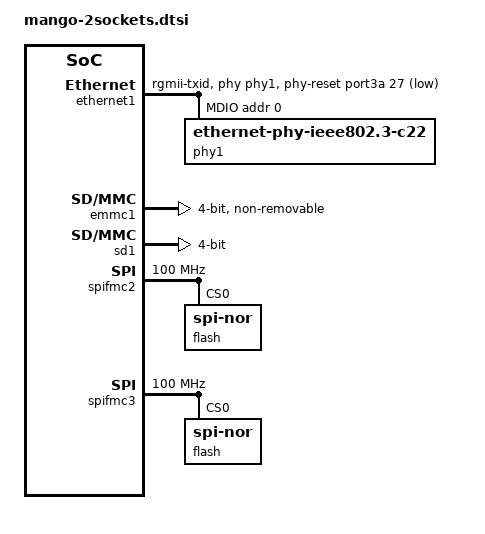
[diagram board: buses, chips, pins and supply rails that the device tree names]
#define NR_CPUS 128

#include "mango.dtsi"
#if NR_CPUS > 64
#include "mango-cpus-socket1.dtsi"
#endif
#include "mango-clock-socket1.dtsi"

/ {
	/delete-node/ distance-map;
	distance-map {
		compatible = "numa-distance-map-v1";
		distance-matrix = <0 0 10>,	//chip0
				  <0 1 15>,
				  <0 2 25>,
				  <0 3 30>,
				  <0 4 110>,
				  <0 5 115>,
				  <0 6 125>,
				  <0 7 130>,
				  <1 0 15>,
				  <1 1 10>,
				  <1 2 30>,
				  <1 3 25>,
				  <1 4 115>,
				  <1 5 110>,
				  <1 6 130>,
				  <1 7 125>,
				  <2 0 25>,
				  <2 1 30>,
				  <2 2 10>,
				  <2 3 15>,
				  <2 4 125>,
				  <2 5 130>,
				  <2 6 110>,
				  <2 7 115>,
				  <3 0 30>,
				  <3 1 25>,
				  <3 2 15>,
				  <3 3 10>,
				  <3 4 130>,
				  <3 5 125>,
				  <3 6 115>,
				  <3 7 110>,
				  <4 0 110>,	//chip1
				  <4 1 115>,
				  <4 2 125>,
				  <4 3 130>,
				  <4 4 10>,
				  <4 5 15>,
				  <4 6 25>,
				  <4 7 30>,
				  <5 0 115>,
				  <5 1 110>,
				  <5 2 130>,
				  <5 3 125>,
				  <5 4 15>,
				  <5 5 10>,
				  <5 6 30>,
				  <5 7 25>,
				  <6 0 125>,
				  <6 1 130>,
				  <6 2 110>,
				  <6 3 115>,
				  <6 4 25>,
				  <6 5 30>,
				  <6 6 10>,
				  <6 7 15>,
				  <7 0 130>,
				  <7 1 125>,
				  <7 2 115>,
				  <7 3 110>,
				  <7 4 30>,
				  <7 5 25>,
				  <7 6 15>,
				  <7 7 10>;
	};

	/* the mem node will be updated by ZSBL. */
	/* chip 1 */
	memory@4 {
		device_type = "memory";
		reg = <0x00000000 0x00000004 0x00000000 0x00000000>;
		numa-node-id = <4>;
	};
	memory@5 {
		device_type = "memory";
		reg = <0x00000000 0x00000005 0x00000000 0x00000000>;
		numa-node-id = <5>;
	};
	memory@6 {
		device_type = "memory";
		reg = <0x00000000 0x00000006 0x00000000 0x00000000>;
		numa-node-id = <6>;
	};
	memory@7 {
		device_type = "memory";
		reg = <0x00000000 0x00000007 0x00000000 0x00000000>;
		numa-node-id = <7>;
	};

	reserved-memory {
		linux,cma {
			size = <0x00000000 0x40000000>;
			alloc-ranges = <0x00000000 0xc0000000
					0x00000000 0x40000000>;
		};
	};

	soc {
#if NR_CPUS > 64
		/delete-node/ clint-mswi@7094000000;
		clint_mswi: clint-mswi@7094000000 {
			compatible = "thead,c900-clint-mswi";
			reg = <0x00000070 0x94000000 0x00000000 0x00004000>;
			interrupts-extended = <
				&cpu0_intc 3
				&cpu1_intc 3
				&cpu2_intc 3
				&cpu3_intc 3
				&cpu4_intc 3
				&cpu5_intc 3
				&cpu6_intc 3
				&cpu7_intc 3
				&cpu8_intc 3
				&cpu9_intc 3
				&cpu10_intc 3
				&cpu11_intc 3
				&cpu12_intc 3
				&cpu13_intc 3
				&cpu14_intc 3
				&cpu15_intc 3
				&cpu16_intc 3
				&cpu17_intc 3
				&cpu18_intc 3
				&cpu19_intc 3
				&cpu20_intc 3
				&cpu21_intc 3
				&cpu22_intc 3
				&cpu23_intc 3
				&cpu24_intc 3
				&cpu25_intc 3
				&cpu26_intc 3
				&cpu27_intc 3
				&cpu28_intc 3
				&cpu29_intc 3
				&cpu30_intc 3
				&cpu31_intc 3
				&cpu32_intc 3
				&cpu33_intc 3
				&cpu34_intc 3
				&cpu35_intc 3
				&cpu36_intc 3
				&cpu37_intc 3
				&cpu38_intc 3
				&cpu39_intc 3
				&cpu40_intc 3
				&cpu41_intc 3
				&cpu42_intc 3
				&cpu43_intc 3
				&cpu44_intc 3
				&cpu45_intc 3
				&cpu46_intc 3
				&cpu47_intc 3
				&cpu48_intc 3
				&cpu49_intc 3
				&cpu50_intc 3
				&cpu51_intc 3
				&cpu52_intc 3
				&cpu53_intc 3
				&cpu54_intc 3
				&cpu55_intc 3
				&cpu56_intc 3
				&cpu57_intc 3
				&cpu58_intc 3
				&cpu59_intc 3
				&cpu60_intc 3
				&cpu61_intc 3
				&cpu62_intc 3
				&cpu63_intc 3

				// chip 1
				&cpu64_intc 3
				&cpu65_intc 3
				&cpu66_intc 3
				&cpu67_intc 3
				&cpu68_intc 3
				&cpu69_intc 3
				&cpu70_intc 3
				&cpu71_intc 3
				&cpu72_intc 3
				&cpu73_intc 3
				&cpu74_intc 3
				&cpu75_intc 3
				&cpu76_intc 3
				&cpu77_intc 3
				&cpu78_intc 3
				&cpu79_intc 3
				&cpu80_intc 3
				&cpu81_intc 3
				&cpu82_intc 3
				&cpu83_intc 3
				&cpu84_intc 3
				&cpu85_intc 3
				&cpu86_intc 3
				&cpu87_intc 3
				&cpu88_intc 3
				&cpu89_intc 3
				&cpu90_intc 3
				&cpu91_intc 3
				&cpu92_intc 3
				&cpu93_intc 3
				&cpu94_intc 3
				&cpu95_intc 3
				&cpu96_intc 3
				&cpu97_intc 3
				&cpu98_intc 3
				&cpu99_intc 3
				&cpu100_intc 3
				&cpu101_intc 3
				&cpu102_intc 3
				&cpu103_intc 3
				&cpu104_intc 3
				&cpu105_intc 3
				&cpu106_intc 3
				&cpu107_intc 3
				&cpu108_intc 3
				&cpu109_intc 3
				&cpu110_intc 3
				&cpu111_intc 3
				&cpu112_intc 3
				&cpu113_intc 3
				&cpu114_intc 3
				&cpu115_intc 3
				&cpu116_intc 3
				&cpu117_intc 3
				&cpu118_intc 3
				&cpu119_intc 3
				&cpu120_intc 3
				&cpu121_intc 3
				&cpu122_intc 3
				&cpu123_intc 3
				&cpu124_intc 3
				&cpu125_intc 3
				&cpu126_intc 3
				&cpu127_intc 3
				>;
		};

		clint_mtimer16: clint-mtimer@70ac100000 {
			compatible = "thead,c900-clint-mtimer";
			reg = <0x00000070 0xac100000 0x00000000 0x00007ff8>;
			interrupts-extended = <
				&cpu64_intc 7
				&cpu65_intc 7
				&cpu66_intc 7
				&cpu67_intc 7
				>;
		};

		clint_mtimer17: clint-mtimer@70ac110000 {
			compatible = "thead,c900-clint-mtimer";
			reg = <0x00000070 0xac110000 0x00000000 0x00007ff8>;
			interrupts-extended = <
				&cpu68_intc 7
				&cpu69_intc 7
				&cpu70_intc 7
				&cpu71_intc 7
				>;
		};

		clint_mtimer18: clint-mtimer@70ac120000 {
			compatible = "thead,c900-clint-mtimer";
			reg = <0x00000070 0xac120000 0x00000000 0x00007ff8>;
			interrupts-extended = <
				&cpu72_intc 7
				&cpu73_intc 7
				&cpu74_intc 7
				&cpu75_intc 7
				>;
		};

		clint_mtimer19: clint-mtimer@70ac130000 {
			compatible = "thead,c900-clint-mtimer";
			reg = <0x00000070 0xac130000 0x00000000 0x00007ff8>;
			interrupts-extended = <
				&cpu76_intc 7
				&cpu77_intc 7
				&cpu78_intc 7
				&cpu79_intc 7
				>;
		};

		clint_mtimer20: clint-mtimer@70ac140000 {
			compatible = "thead,c900-clint-mtimer";
			reg = <0x00000070 0xac140000 0x00000000 0x00007ff8>;
			interrupts-extended = <
				&cpu80_intc 7
				&cpu81_intc 7
				&cpu82_intc 7
				&cpu83_intc 7
				>;
		};

		clint_mtimer21: clint-mtimer@70ac150000 {
			compatible = "thead,c900-clint-mtimer";
			reg = <0x00000070 0xac150000 0x00000000 0x00007ff8>;
			interrupts-extended = <
				&cpu84_intc 7
				&cpu85_intc 7
				&cpu86_intc 7
				&cpu87_intc 7
				>;
		};

		clint_mtimer22: clint-mtimer@70ac160000 {
			compatible = "thead,c900-clint-mtimer";
			reg = <0x00000070 0xac160000 0x00000000 0x00007ff8>;
			interrupts-extended = <
				&cpu88_intc 7
				&cpu89_intc 7
				&cpu90_intc 7
				&cpu91_intc 7
				>;
		};

		clint_mtimer23: clint-mtimer@70ac170000 {
			compatible = "thead,c900-clint-mtimer";
			reg = <0x00000070 0xac170000 0x00000000 0x00007ff8>;
			interrupts-extended = <
				&cpu92_intc 7
				&cpu93_intc 7
				&cpu94_intc 7
				&cpu95_intc 7
				>;
		};

		clint_mtimer24: clint-mtimer@70ac180000 {
			compatible = "thead,c900-clint-mtimer";
			reg = <0x00000070 0xac180000 0x00000000 0x00007ff8>;
			interrupts-extended = <
				&cpu96_intc 7
				&cpu97_intc 7
				&cpu98_intc 7
				&cpu99_intc 7
				>;
		};

		clint_mtimer25: clint-mtimer@70ac190000 {
			compatible = "thead,c900-clint-mtimer";
			reg = <0x00000070 0xac190000 0x00000000 0x00007ff8>;
			interrupts-extended = <
				&cpu100_intc 7
				&cpu101_intc 7
				&cpu102_intc 7
				&cpu103_intc 7
				>;
		};

		clint_mtimer26: clint-mtimer@70ac1a0000 {
			compatible = "thead,c900-clint-mtimer";
			reg = <0x00000070 0xac1a0000 0x00000000 0x00007ff8>;
			interrupts-extended = <
				&cpu104_intc 7
				&cpu105_intc 7
				&cpu106_intc 7
				&cpu107_intc 7
				>;
		};

		clint_mtimer27: clint-mtimer@70ac1b0000 {
			compatible = "thead,c900-clint-mtimer";
			reg = <0x00000070 0xac1b0000 0x00000000 0x00007ff8>;
			interrupts-extended = <
				&cpu108_intc 7
				&cpu109_intc 7
				&cpu110_intc 7
				&cpu111_intc 7
				>;
		};

		clint_mtimer28: clint-mtimer@70ac1c0000 {
			compatible = "thead,c900-clint-mtimer";
			reg = <0x00000070 0xac1c0000 0x00000000 0x00007ff8>;
			interrupts-extended = <
				&cpu112_intc 7
				&cpu113_intc 7
				&cpu114_intc 7
				&cpu115_intc 7
				>;
		};

		clint_mtimer29: clint-mtimer@70ac1d0000 {
			compatible = "thead,c900-clint-mtimer";
			reg = <0x00000070 0xac1d0000 0x00000000 0x00007ff8>;
			interrupts-extended = <
				&cpu116_intc 7
				&cpu117_intc 7
				&cpu118_intc 7
				&cpu119_intc 7
				>;
		};

		clint_mtimer30: clint-mtimer@70ac1e0000 {
			compatible = "thead,c900-clint-mtimer";
			reg = <0x00000070 0xac1e0000 0x00000000 0x00007ff8>;
			interrupts-extended = <
				&cpu120_intc 7
				&cpu121_intc 7
				&cpu122_intc 7
				&cpu123_intc 7
				>;
		};

		clint_mtimer31: clint-mtimer@70ac1f0000 {
			compatible = "thead,c900-clint-mtimer";
			reg = <0x00000070 0xac1f0000 0x00000000 0x00007ff8>;
			interrupts-extended = <
				&cpu124_intc 7
				&cpu125_intc 7
				&cpu126_intc 7
				&cpu127_intc 7
				>;
		};
#endif

		/delete-node/ interrupt-controller@7090000000;
		intc: interrupt-controller@7090000000 {
			#address-cells = <0>;
			#interrupt-cells = <2>;
			compatible = "thead,c900-plic";
			interrupt-controller;
			interrupts-extended = <
				&cpu0_intc  0xffffffff &cpu0_intc  9
				&cpu1_intc  0xffffffff &cpu1_intc  9
				&cpu2_intc  0xffffffff &cpu2_intc  9
				&cpu3_intc  0xffffffff &cpu3_intc  9
				&cpu4_intc  0xffffffff &cpu4_intc  9
				&cpu5_intc  0xffffffff &cpu5_intc  9
				&cpu6_intc  0xffffffff &cpu6_intc  9
				&cpu7_intc  0xffffffff &cpu7_intc  9
				&cpu8_intc  0xffffffff &cpu8_intc  9
				&cpu9_intc  0xffffffff &cpu9_intc  9
				&cpu10_intc  0xffffffff &cpu10_intc  9
				&cpu11_intc  0xffffffff &cpu11_intc  9
				&cpu12_intc  0xffffffff &cpu12_intc  9
				&cpu13_intc  0xffffffff &cpu13_intc  9
				&cpu14_intc  0xffffffff &cpu14_intc  9
				&cpu15_intc  0xffffffff &cpu15_intc  9
				&cpu16_intc  0xffffffff &cpu16_intc  9
				&cpu17_intc  0xffffffff &cpu17_intc  9
				&cpu18_intc  0xffffffff &cpu18_intc  9
				&cpu19_intc  0xffffffff &cpu19_intc  9
				&cpu20_intc  0xffffffff &cpu20_intc  9
				&cpu21_intc  0xffffffff &cpu21_intc  9
				&cpu22_intc  0xffffffff &cpu22_intc  9
				&cpu23_intc  0xffffffff &cpu23_intc  9
				&cpu24_intc  0xffffffff &cpu24_intc  9
				&cpu25_intc  0xffffffff &cpu25_intc  9
				&cpu26_intc  0xffffffff &cpu26_intc  9
				&cpu27_intc  0xffffffff &cpu27_intc  9
				&cpu28_intc  0xffffffff &cpu28_intc  9
				&cpu29_intc  0xffffffff &cpu29_intc  9
				&cpu30_intc  0xffffffff &cpu30_intc  9
				&cpu31_intc  0xffffffff &cpu31_intc  9
				&cpu32_intc  0xffffffff &cpu32_intc  9
				&cpu33_intc  0xffffffff &cpu33_intc  9
				&cpu34_intc  0xffffffff &cpu34_intc  9
				&cpu35_intc  0xffffffff &cpu35_intc  9
				&cpu36_intc  0xffffffff &cpu36_intc  9
				&cpu37_intc  0xffffffff &cpu37_intc  9
				&cpu38_intc  0xffffffff &cpu38_intc  9
				&cpu39_intc  0xffffffff &cpu39_intc  9
				&cpu40_intc  0xffffffff &cpu40_intc  9
				&cpu41_intc  0xffffffff &cpu41_intc  9
				&cpu42_intc  0xffffffff &cpu42_intc  9
				&cpu43_intc  0xffffffff &cpu43_intc  9
				&cpu44_intc  0xffffffff &cpu44_intc  9
				&cpu45_intc  0xffffffff &cpu45_intc  9
				&cpu46_intc  0xffffffff &cpu46_intc  9
				&cpu47_intc  0xffffffff &cpu47_intc  9
				&cpu48_intc  0xffffffff &cpu48_intc  9
				&cpu49_intc  0xffffffff &cpu49_intc  9
				&cpu50_intc  0xffffffff &cpu50_intc  9
				&cpu51_intc  0xffffffff &cpu51_intc  9
				&cpu52_intc  0xffffffff &cpu52_intc  9
				&cpu53_intc  0xffffffff &cpu53_intc  9
				&cpu54_intc  0xffffffff &cpu54_intc  9
				&cpu55_intc  0xffffffff &cpu55_intc  9
				&cpu56_intc  0xffffffff &cpu56_intc  9
				&cpu57_intc  0xffffffff &cpu57_intc  9
				&cpu58_intc  0xffffffff &cpu58_intc  9
				&cpu59_intc  0xffffffff &cpu59_intc  9
				&cpu60_intc  0xffffffff &cpu60_intc  9
				&cpu61_intc  0xffffffff &cpu61_intc  9
				&cpu62_intc  0xffffffff &cpu62_intc  9
				&cpu63_intc  0xffffffff &cpu63_intc  9

#if NR_CPUS > 64
				//chip 1
				&cpu64_intc  0xffffffff &cpu64_intc  9
				&cpu65_intc  0xffffffff &cpu65_intc  9
				&cpu66_intc  0xffffffff &cpu66_intc  9
				&cpu67_intc  0xffffffff &cpu67_intc  9
				&cpu68_intc  0xffffffff &cpu68_intc  9
				&cpu69_intc  0xffffffff &cpu69_intc  9
				&cpu70_intc  0xffffffff &cpu70_intc  9
				&cpu71_intc  0xffffffff &cpu71_intc  9
				&cpu72_intc  0xffffffff &cpu72_intc  9
				&cpu73_intc  0xffffffff &cpu73_intc  9
				&cpu74_intc  0xffffffff &cpu74_intc  9
				&cpu75_intc  0xffffffff &cpu75_intc  9
				&cpu76_intc  0xffffffff &cpu76_intc  9
				&cpu77_intc  0xffffffff &cpu77_intc  9
				&cpu78_intc  0xffffffff &cpu78_intc  9
				&cpu79_intc  0xffffffff &cpu79_intc  9
				&cpu80_intc  0xffffffff &cpu80_intc  9
				&cpu81_intc  0xffffffff &cpu81_intc  9
				&cpu82_intc  0xffffffff &cpu82_intc  9
				&cpu83_intc  0xffffffff &cpu83_intc  9
				&cpu84_intc  0xffffffff &cpu84_intc  9
				&cpu85_intc  0xffffffff &cpu85_intc  9
				&cpu86_intc  0xffffffff &cpu86_intc  9
				&cpu87_intc  0xffffffff &cpu87_intc  9
				&cpu88_intc  0xffffffff &cpu88_intc  9
				&cpu89_intc  0xffffffff &cpu89_intc  9
				&cpu90_intc  0xffffffff &cpu90_intc  9
				&cpu91_intc  0xffffffff &cpu91_intc  9
				&cpu92_intc  0xffffffff &cpu92_intc  9
				&cpu93_intc  0xffffffff &cpu93_intc  9
				&cpu94_intc  0xffffffff &cpu94_intc  9
				&cpu95_intc  0xffffffff &cpu95_intc  9
				&cpu96_intc  0xffffffff &cpu96_intc  9
				&cpu97_intc  0xffffffff &cpu97_intc  9
				&cpu98_intc  0xffffffff &cpu98_intc  9
				&cpu99_intc  0xffffffff &cpu99_intc  9
				&cpu100_intc  0xffffffff &cpu100_intc  9
				&cpu101_intc  0xffffffff &cpu101_intc  9
				&cpu102_intc  0xffffffff &cpu102_intc  9
				&cpu103_intc  0xffffffff &cpu103_intc  9
				&cpu104_intc  0xffffffff &cpu104_intc  9
				&cpu105_intc  0xffffffff &cpu105_intc  9
				&cpu106_intc  0xffffffff &cpu106_intc  9
				&cpu107_intc  0xffffffff &cpu107_intc  9
				&cpu108_intc  0xffffffff &cpu108_intc  9
				&cpu109_intc  0xffffffff &cpu109_intc  9
				&cpu110_intc  0xffffffff &cpu110_intc  9
				&cpu111_intc  0xffffffff &cpu111_intc  9
				&cpu112_intc  0xffffffff &cpu112_intc  9
				&cpu113_intc  0xffffffff &cpu113_intc  9
				&cpu114_intc  0xffffffff &cpu114_intc  9
				&cpu115_intc  0xffffffff &cpu115_intc  9
				&cpu116_intc  0xffffffff &cpu116_intc  9
				&cpu117_intc  0xffffffff &cpu117_intc  9
				&cpu118_intc  0xffffffff &cpu118_intc  9
				&cpu119_intc  0xffffffff &cpu119_intc  9
				&cpu120_intc  0xffffffff &cpu120_intc  9
				&cpu121_intc  0xffffffff &cpu121_intc  9
				&cpu122_intc  0xffffffff &cpu122_intc  9
				&cpu123_intc  0xffffffff &cpu123_intc  9
				&cpu124_intc  0xffffffff &cpu124_intc  9
				&cpu125_intc  0xffffffff &cpu125_intc  9
				&cpu126_intc  0xffffffff &cpu126_intc  9
				&cpu127_intc  0xffffffff &cpu127_intc  9
#endif
				>;
			reg = <0x00000070 0x90000000 0x00000000 0x04000000>;
			reg-names = "control";
			riscv,max-priority = <7>;
			riscv,ndev = <448>;
		};

		top1_misc: top_misc_ctrl@f030010000 {
			compatible = "syscon";
			reg = <0xf0 0x30010000 0x0 0x8000>;
		};

		rst1: reset1-controller {
			#reset-cells = <1>;
			compatible = "bitmain,reset";
			subctrl-syscon = <&top1_misc>;
			top_rst_offset = <0x3000>;
			nr_resets = <RST_MAX_NUM>;
		};

		gpio3: gpio@f030009000 {
			compatible = "snps,dw-apb-gpio";
			reg = <0xf0 0x30009000 0x0 0x400>;
			#address-cells = <1>;
			#size-cells = <0>;
			clocks = <&s1_div_clk GATE_CLK_APB_GPIO>,
				 <&s1_div_clk GATE_CLK_APB_GPIO_INTR>,
				 <&s1_div_clk GATE_CLK_GPIO_DB>;
			clock-names = "base_clk", "intr_clk", "db_clk";

			port3a: gpio-controller@0 {
				compatible = "snps,dw-apb-gpio-port";
				bank-name = "port0a";
				gpio-controller;
				#gpio-cells = <2>;
				snps,nr-gpios = <32>;
				reg = <0>;
				interrupt-controller;
				#interrupt-cells = <2>;
				interrupt-parent = <&intc>;
				interrupts = <SOC_PERIPHERAL_IRQ(320) IRQ_TYPE_LEVEL_HIGH>;
			};
		};

		ethernet1: ethernet@f040026000 {
			compatible = "bitmain,ethernet";
			reg = <0xf0 0x40026000 0x0 0x4000>;
			interrupt-parent = <&intc>;
			interrupts = <SOC_PERIPHERAL_IRQ(356) IRQ_TYPE_LEVEL_HIGH>;
			interrupt-names = "macirq";
			clock-names = "clk_tx", "gate_clk_tx", "stmmaceth", "ptp_ref", "gate_clk_ref";
			clocks = <&s1_div_clk DIV_CLK_FPLL_TX_ETH0>,
				   <&s1_div_clk GATE_CLK_TX_ETH0>,
				   <&s1_div_clk GATE_CLK_AXI_ETH0>,
				   <&s1_div_clk GATE_CLK_PTP_REF_I_ETH0>,
				   <&s1_div_clk GATE_CLK_REF_ETH0>;

			/* no hash filter and perfect filter support */
			snps,multicast-filter-bins = <0>;
			snps,perfect-filter-entries = <1>;

			snps,txpbl = <32>;
			snps,rxpbl = <32>;
			snps,aal;

			snps,axi-config = <&stmmac_axi_setup>;
			snps,mtl-rx-config = <&mtl_rx_setup>;
			snps,mtl-tx-config = <&mtl_tx_setup>;

			phy-mode = "rgmii-txid";
			phy-reset-gpios = <&port3a 27 0>;
			phy-handle = <&phy1>;
			mdio {
				#address-cells = <0x1>;
				#size-cells = <0x0>;
				compatible = "snps,dwmac-mdio";
				phy1: phy@0 {
					compatible = "ethernet-phy-ieee802.3-c22";
					device_type = "ethernet-phy";
					reg = <0x0>;
				};
			};
		};

		emmc1: bm-emmc@f04002A000 {
			compatible = "bitmain,bm-emmc";
			reg = <0xf0 0x4002A000 0x0 0x1000>;
			reg-names = "core_mem";
			interrupt-parent = <&intc>;
			interrupts = <SOC_PERIPHERAL_IRQ(358) IRQ_TYPE_LEVEL_HIGH>;
			bus-width = <4>;
			non-removable;
			no-sdio;
			no-sd;
			resets = <&rst1 RST_EMMC>;
			reset-names = "emmc";
			clocks =
				<&s1_div_clk GATE_CLK_EMMC_100M>,
				<&s1_div_clk GATE_CLK_AXI_EMMC>,
				<&s1_div_clk GATE_CLK_100K_EMMC>;
			clock-names =
				"clk_gate_emmc",
				"clk_gate_axi_emmc",
				"clk_gate_100k_emmc";
		};

		sd1: bm-sd@f04002B000 {
			compatible = "bitmain,bm-sd";
			reg = <0xf0 0x4002B000 0x0 0x1000>;
			reg-names = "core_mem";
			interrupt-parent = <&intc>;
			interrupts = <SOC_PERIPHERAL_IRQ(360) IRQ_TYPE_LEVEL_HIGH>;
			bus-width = <4>;
			no-sdio;
			no-mmc;
			resets = <&rst1 RST_SD>;
			reset-names = "sdio";
			clocks =
				<&s1_div_clk GATE_CLK_SD_100M>,
				<&s1_div_clk GATE_CLK_AXI_SD>,
				<&s1_div_clk GATE_CLK_100K_SD>;
			clock-names =
				"clk_gate_sd",
				"clk_gate_axi_sd",
				"clk_gate_100k_sd";
		};
	};

	spifmc2: flash-controller@f000180000 {
		compatible = "sophgo,spifmc";
		reg = <0xf0 0x00180000 0x0 0x1000000>;
		reg-names = "memory";
		#address-cells = <1>;
		#size-cells = <0>;
		interrupt-parent = <&intc>;
		interrupts = <SOC_PERIPHERAL_IRQ(332) IRQ_TYPE_LEVEL_HIGH>;
		clock-frequency = <100000000>;
		clocks = <&s1_div_clk GATE_CLK_AHB_SF>;
		flash@0 {
			reg = <0>;
			compatible = "jedec,spi-nor";
		};
	};

	spifmc3: flash-controller@f002180000 {
		compatible = "sophgo,spifmc";
		reg = <0xf0 0x02180000 0x0 0x1000000>;
		reg-names = "memory";
		#address-cells = <1>;
		#size-cells = <0>;
		interrupt-parent = <&intc>;
		interrupts = <SOC_PERIPHERAL_IRQ(333) IRQ_TYPE_LEVEL_HIGH>;
		clock-frequency = <100000000>;
		clocks = <&s1_div_clk GATE_CLK_AHB_SF>;
		flash@0 {
			reg = <0>;
			compatible = "jedec,spi-nor";
		};
	};

	aliases {
	        serial0 = &uart0;
	        ethernet0 = &ethernet0;
	        ethernet1 = &ethernet1;
	};
};
